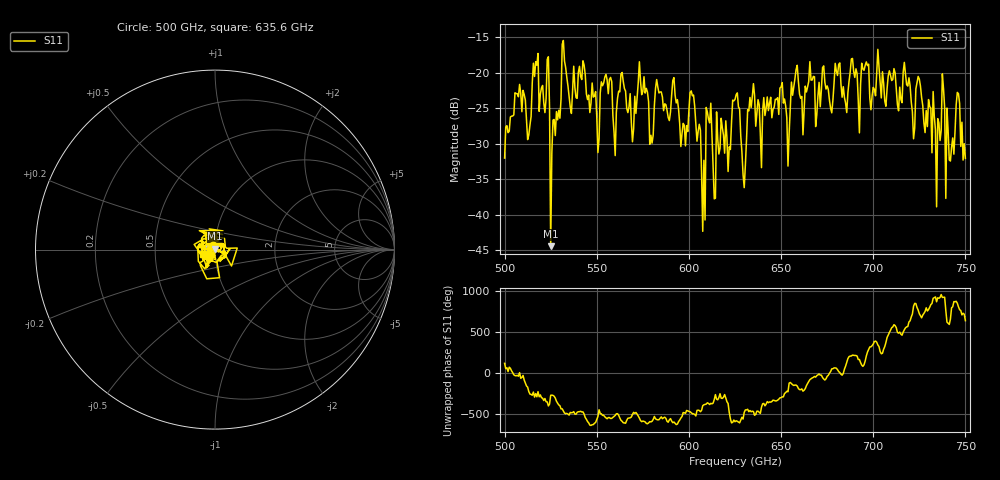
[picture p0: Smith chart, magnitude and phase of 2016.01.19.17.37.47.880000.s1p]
!Created with skrf (http://scikit-rf.org).
# GHz S RI R 50.0
!freq ReS11 ImS11
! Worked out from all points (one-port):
!   401 points, 500 GHz to 750 GHz, reference 50 ohm
!   lowest |S11| = -44.4 dB at 525 GHz (marker M1), VSWR 1.01, Z = 50 + j0.599 ohm
!   |S11| at or under -10 dB: start of sweep to end of sweep
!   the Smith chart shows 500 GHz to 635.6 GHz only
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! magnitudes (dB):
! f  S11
! 500 GHz  -32.0
! 506.9 GHz  -22.9
! 513.1 GHz  -28.8
! 516.9 GHz  -18.4
! 525 GHz  -44.4
! 531.2 GHz  -16.0
! 550 GHz  -26.1
! 562.5 GHz  -22.7
! 570 GHz  -27.9
! 574.4 GHz  -23.1
! 580 GHz  -29.9
! 583.1 GHz  -22.0
! 593.8 GHz  -23.8
! 601.9 GHz  -23.2
! 607.5 GHz  -42.3
! 610.6 GHz  -26.5
! 614.4 GHz  -37.7
! 625 GHz  -23.8
! 630 GHz  -36.2
! 634.4 GHz  -23.4
! 653.8 GHz  -33.1
! 656.2 GHz  -23.2
! 687.5 GHz  -19.9
! 718.8 GHz  -21.9
! 737.5 GHz  -20.1
! 740.6 GHz  -28.2
! 745.6 GHz  -22.8
! 750 GHz  -32.1
